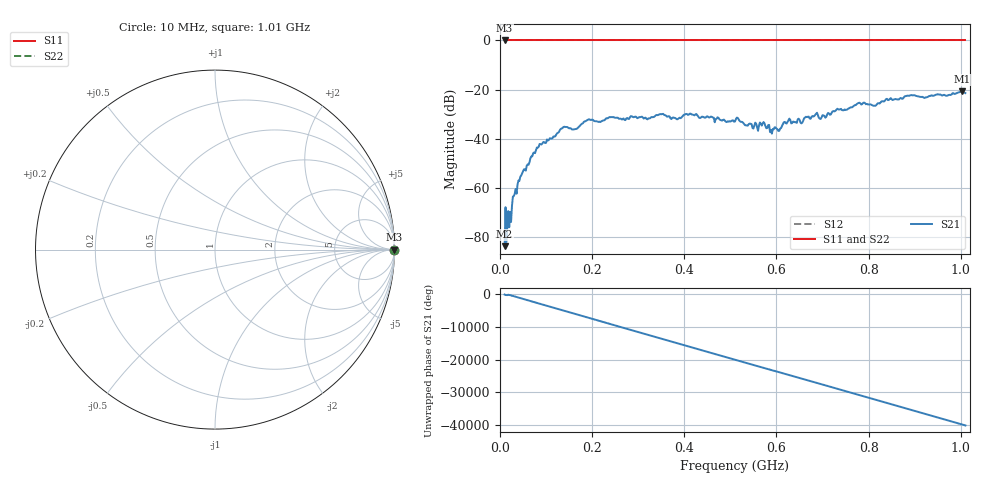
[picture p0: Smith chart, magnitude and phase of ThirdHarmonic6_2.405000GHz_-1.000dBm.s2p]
! 8/17/2025 3:59:49 AM
! C:\ANRITSUVNA\TEMP\TEMP.S2P
! CHANNEL.1
! TR.MEASUREMENT
! RAW.DATA
! RF.CORRECTION.OFF
! AVERAGING.OFF
! IF.BANDWIDTH: 5KHZ
! SWEEPTYPE:  FREQ.SWEEP(Linear)
! Reference Plane Port Info
! PORT:  PORT1  PORT2
! DISTANCE:  0  m  0  m
! TIME:  0  s  0  s
! PHASE.OFFSET:  0  deg.  0  deg.
! LOSS:  0  dB  0  dB
! REF.LOSS:  0  dB  0  dB
! REF.FREQ:  0  Hz  0  Hz
! Power Info
! POWER:  -20  dBm  -20  dBm
! EFF.POWER:  -20  dBm  -20  dBm
! SOURCE.ATTEN:  0  dB  0  dB
! TEST.ATTEN:  0  dB  0  dB
# GHZ S RI R 50.0
! FREQ.GHZ  S11RE  S11IM  S21RE  S21IM  S12RE  S12IM  S22RE  S22IM
!; PortSelection: Port_12
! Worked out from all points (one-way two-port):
!   501 points, 10 MHz to 1.01 GHz, reference 50 ohm
!   highest |S21| = -20.76 dB at 1.002 GHz (marker M1); lowest = -83.8 dB at 10 MHz (marker M2)
!   lowest |S11| = 0.0 dB at 10 MHz (marker M3)
!   |S11| at or under -10 dB: nowhere
!   |S22| runs from 0.0 to 0.0 dB; largest |S21 - S12| = 1.1
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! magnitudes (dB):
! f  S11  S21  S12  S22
! 10 MHz  0.0  -83.8  0.0  0.0
! 20 MHz  0.0  -76.1  0.0  0.0
! 30 MHz  0.0  -63.4  0.0  0.0
! 42 MHz  0.0  -57.3  0.0  0.0
! 82 MHz  0.0  -43.7  0.0  0.0
! 136 MHz  0.0  -35.6  0.0  0.0
! 162 MHz  0.0  -36.2  0.0  0.0
! 178 MHz  0.0  -33.9  0.0  0.0
! 240 MHz  0.0  -31.3  0.0  0.0
! 322 MHz  0.0  -31.7  0.0  0.0
! 344 MHz  0.0  -30.3  0.0  0.0
! 510 MHz  0.0  -33.0  0.0  0.0
! 548 MHz  0.0  -35.7  0.0  0.0
! 570 MHz  0.0  -33.9  0.0  0.0
! 590 MHz  0.0  -38.0  0.0  0.0
! 606 MHz  0.0  -36.8  0.0  0.0
! 626 MHz  0.0  -32.5  0.0  0.0
! 654 MHz  0.0  -33.8  0.0  0.0
! 678 MHz  0.0  -30.8  0.0  0.0
! 844 MHz  0.0  -24.2  0.0  0.0
! 1.002 GHz  0.0  -20.8  0.0  0.0
! 1.01 GHz  0.0  -21.4  0.0  0.0
